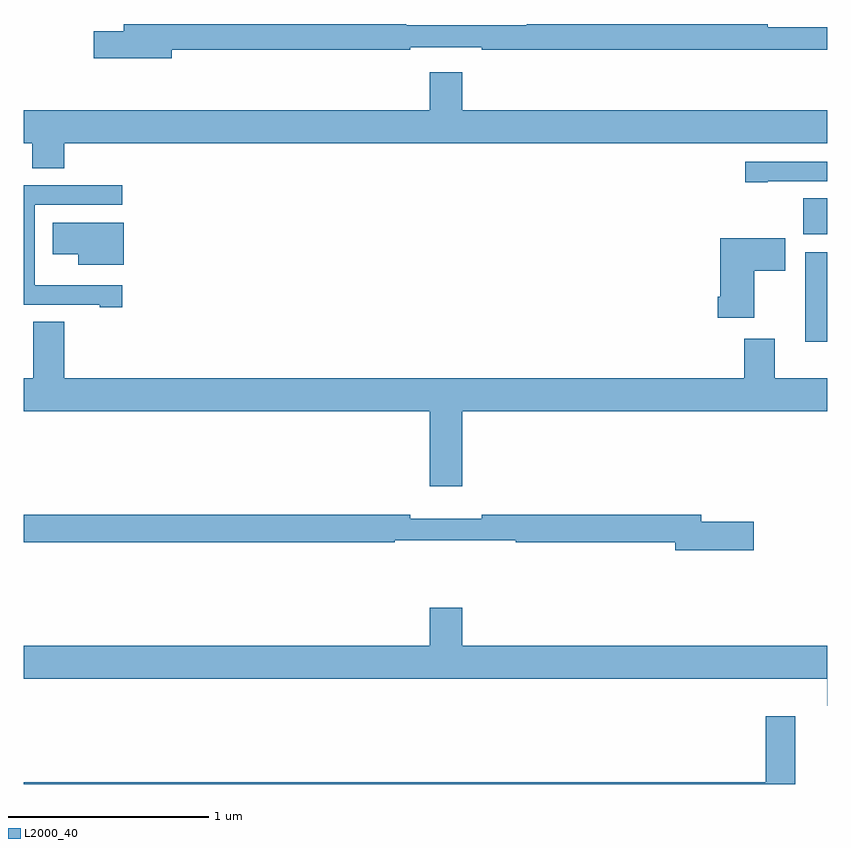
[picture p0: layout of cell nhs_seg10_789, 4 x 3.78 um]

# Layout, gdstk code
import gdstk
lib = gdstk.Library(unit=1e-6, precision=1e-09)
def R(c, l, rs):  # rectangles x0, y0, x1, y1
    for r in rs: c.add(gdstk.rectangle(r[:2], r[2:], *l))
def P(c, l, *ps):  # polygons
    for p in ps: c.add(gdstk.Polygon(p, *l))
L2000_40 = (2000, 40)

nhs_seg10_789 = lib.new_cell('nhs_seg10_789')
R(nhs_seg10_789, L2000_40, [(154.889,1260.702,155,1261.147), (154.88,1261.236,155,1261.415)])
P(nhs_seg10_789, L2000_40, [(151.738,1262.154),(152.924,1262.154),(152.924,1262.166),(153.28,1262.166),(153.28,1262.154),(155,1262.154),(155,1262.267),(154.703,1262.267),(154.703,1262.282),(153.503,1262.282),(153.503,1262.275),(152.903,1262.275),(152.903,1262.282),(151.499,1262.282),(151.499,1262.246),(151.35,1262.246),(151.35,1262.111),(151.738,1262.111)],
  [(151.202,1261.688),(155,1261.688),(155,1261.852),(153.184,1261.852),(153.184,1262.041),(153.02,1262.041),(153.02,1261.852),(151,1261.852),(151,1261.688),(151.042,1261.688),(151.042,1261.564),(151.202,1261.564)],
  [(154.702,1261.5),(155,1261.5),(155,1261.596),(154.59,1261.596),(154.59,1261.495),(154.702,1261.495)],
  [(151.492,1260.981),(151.058,1260.981),(151.058,1260.982),(151.056,1260.982),(151.056,1261.383),(151.492,1261.383),(151.492,1261.479),(151,1261.479),(151,1260.885),(151.379,1260.885),(151.379,1260.873),(151.492,1260.873)],
  [(151.498,1261.294),(151.146,1261.294),(151.146,1261.136),(151.271,1261.136),(151.271,1261.085),(151.498,1261.085)],
  [(154.636,1261.054),(154.789,1261.054),(154.789,1261.216),(154.466,1261.216),(154.466,1260.925),(154.454,1260.925),(154.454,1260.821),(154.636,1260.821)],
  [(153.184,1260.356),(155,1260.356),(155,1260.52),(154.738,1260.52),(154.738,1260.715),(154.586,1260.715),(154.586,1260.52),(151.202,1260.52),(151.202,1260.8),(151.049,1260.8),(151.049,1260.52),(151,1260.52),(151,1260.356),(153.02,1260.356),(153.02,1259.982),(153.184,1259.982)],
  [(154.633,1259.804),(154.372,1259.804),(154.372,1259.84),(153.28,1259.84),(153.28,1259.821),(152.924,1259.821),(152.924,1259.84),(151,1259.84),(151,1259.704),(152.848,1259.704),(152.848,1259.712),(153.448,1259.712),(153.448,1259.704),(154.244,1259.704),(154.244,1259.662),(154.633,1259.662)],
  [(155,1259.188),(153.184,1259.188),(153.184,1259.377),(153.02,1259.377),(153.02,1259.188),(151,1259.188),(151,1259.024),(154.999,1259.024),(154.999,1258.89),(155,1258.89)],
  [(154.84,1258.837),(154.694,1258.837),(154.694,1258.508),(151,1258.508),(151,1258.5),(154.84,1258.5)])

lib.write_gds('nhs_seg10_789.gds')
